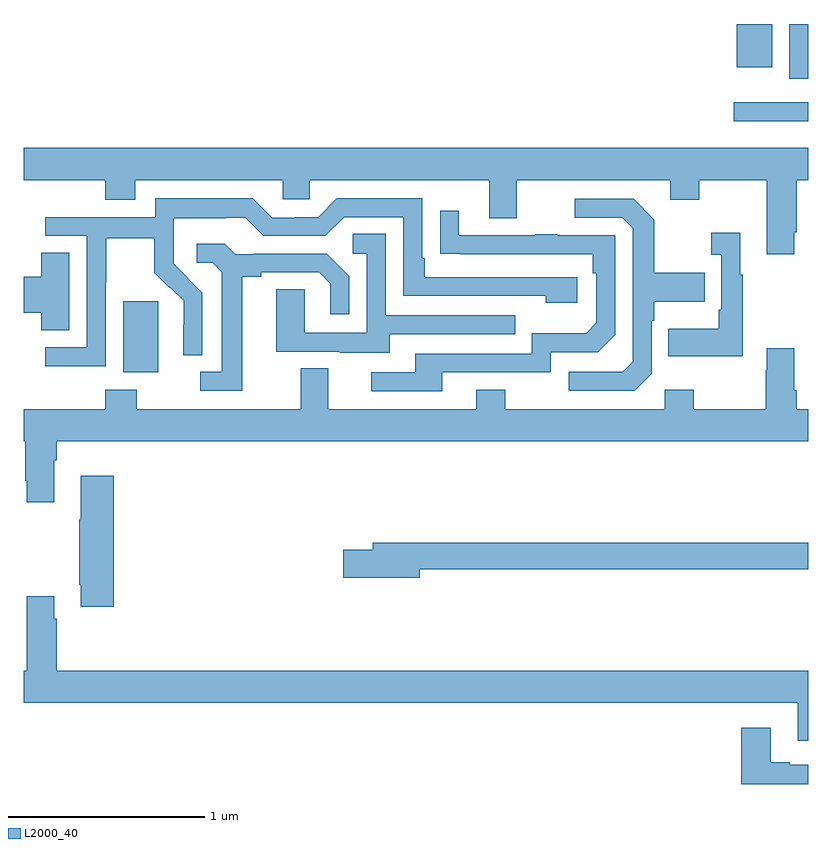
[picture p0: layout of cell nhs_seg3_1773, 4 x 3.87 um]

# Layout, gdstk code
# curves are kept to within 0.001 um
import gdstk
lib = gdstk.Library(unit=1e-6, precision=1e-09)
def R(c, l, rs):  # rectangles x0, y0, x1, y1
    for r in rs: c.add(gdstk.rectangle(r[:2], r[2:], *l))
def P(c, l, *ps):  # polygons
    for p in ps: c.add(gdstk.Polygon(p, *l))
L2000_40 = (2000, 40)

nhs_seg3_1773 = lib.new_cell('nhs_seg3_1773')
R(nhs_seg3_1773, L2000_40, [(203.507,678.626,203.686,678.987), (206.619,679.904,207,680.001), (206.903,680.121,207,680.4), (206.636,680.18,206.815,680.4)])
P(nhs_seg3_1773, L2000_40, [(206.929,679.339),(206.942,679.339),(206.942,679.604),(207,679.604),(207,679.768),(203,679.768),(203,679.604),(203.417,679.604),(203.417,679.505),(203.569,679.505),(203.569,679.604),(204.321,679.604),(204.321,679.506),(204.459,679.506),(204.459,679.604),(205.373,679.604),(205.373,679.41),(205.513,679.41),(205.513,679.604),(206.297,679.604),(206.297,679.505),(206.445,679.505),(206.445,679.604),(206.789,679.604),(206.789,679.227),(206.929,679.227)],
  [(203.418,679.084),(203.421,679.084),(203.421,679.308),(203.665,679.308),(203.665,679.133),(203.742,679.056),(203.745,679.059),(203.816,678.989),(203.816,678.866),(203.814,678.866),(203.814,678.712),(203.91,678.712),(203.91,679.03),(203.764,679.178),(203.764,679.275),(203.766,679.275),(203.766,679.409),(204.029,679.409),(204.029,679.413),(204.129,679.413),(204.222,679.32),(204.537,679.32),(204.633,679.416),(204.936,679.416),(204.936,679.014),(205.661,679.014),(205.661,678.98),(205.822,678.98),(205.822,679.11),(205.045,679.11),(205.045,679.207),(205.032,679.207),(205.032,679.512),(204.597,679.512),(204.501,679.416),(204.383,679.416),(204.383,679.413),(204.267,679.413),(204.167,679.513),(203.67,679.513),(203.67,679.416),(203.109,679.416),(203.109,679.32),(203.322,679.32),(203.322,678.753),(203.109,678.753),(203.109,678.655),(203.418,678.655)],
  [(206.202,678.618),(206.202,678.887),(206.215,678.887),(206.215,678.983),(206.471,678.983),(206.471,679.131),(206.215,679.131),(206.215,679.403),(206.109,679.509),(205.809,679.509),(205.809,679.413),(206.052,679.413),(206.106,679.359),(206.106,678.678),(206.055,678.627),(205.779,678.627),(205.779,678.531),(206.115,678.531)],
  [(205.135,678.624),(205.686,678.624),(205.686,678.726),(205.926,678.726),(206.016,678.816),(206.016,679.323),(205.721,679.323),(205.721,679.328),(205.609,679.328),(205.609,679.323),(205.219,679.323),(205.219,679.447),(205.123,679.447),(205.123,679.228),(205.9,679.227),(205.9,679.13),(205.92,679.13),(205.92,678.876),(205.867,678.823),(205.59,678.823),(205.59,678.72),(204.995,678.72),(204.995,678.624),(204.771,678.624),(204.771,678.528),(205.135,678.528)],
  [(206.665,679.123),(206.653,679.123),(206.653,679.336),(206.505,679.336),(206.505,679.223),(206.556,679.223),(206.556,678.943),(206.544,678.943),(206.544,678.847),(206.287,678.847),(206.287,678.707),(206.665,678.707)],
  [(204.865,678.819),(205.505,678.819),(205.505,678.915),(204.846,678.915),(204.846,679.331),(204.678,679.331),(204.678,679.23),(204.75,679.23),(204.75,678.825),(204.432,678.825),(204.432,679.049),(204.287,679.049),(204.287,678.729),(204.611,678.729),(204.611,678.725),(204.865,678.725)],
  [(204.115,679.112),(204.211,679.112),(204.211,679.134),(204.506,679.134),(204.563,679.077),(204.563,678.921),(204.66,678.921),(204.66,679.114),(204.544,679.23),(204.172,679.23),(204.172,679.227),(204.078,679.227),(204.026,679.279),(203.883,679.279),(203.883,679.182),(203.964,679.182),(204.011,679.135),(204.011,678.627),(203.901,678.627),(203.901,678.531),(204.115,678.531)],
  [(203.233,679.235),(203.09,679.235),(203.09,679.112),(203,679.112),(203,678.929),(203.09,678.929),(203.09,678.838),(203.233,678.838)],
  [(206.929,678.532),(206.929,678.748),(206.789,678.748),(206.789,678.635),(206.782,678.635),(206.782,678.436),(206.415,678.436),(206.415,678.535),(206.268,678.535),(206.268,678.436),(205.455,678.436),(205.455,678.535),(205.307,678.535),(205.307,678.436),(204.553,678.436),(204.553,678.644),(204.413,678.644),(204.413,678.436),(203.577,678.436),(203.577,678.535),(203.417,678.535),(203.417,678.436),(203,678.436),(203,678.272),(203.008,678.272),(203.008,678.073),(203.015,678.073),(203.015,677.961),(203.155,677.961),(203.155,678.176),(203.168,678.176),(203.168,678.272),(207,678.272),(207,678.436),(206.942,678.436),(206.942,678.532)],
  [(203.459,678.097),(203.291,678.097),(203.291,677.873),(203.284,677.873),(203.284,677.542),(203.291,677.542),(203.291,677.43),(203.459,677.43)],
  [(205.018,677.62),(207,677.62),(207,677.756),(204.779,677.756),(204.779,677.72),(204.63,677.72),(204.63,677.578),(205.018,677.578)],
  [(207,677.104),(203.168,677.104),(203.168,677.369),(203.155,677.369),(203.155,677.482),(203.015,677.482),(203.015,677.104),(203,677.104),(203,676.94),(206.945,676.94),(206.945,676.746),(207,676.746)],
  [(207,676.623),(206.905,676.623),(206.905,676.636),(206.809,676.636),(206.809,676.813),(206.657,676.813),(206.657,676.526),(207,676.526)])

lib.write_gds('nhs_seg3_1773.gds')
